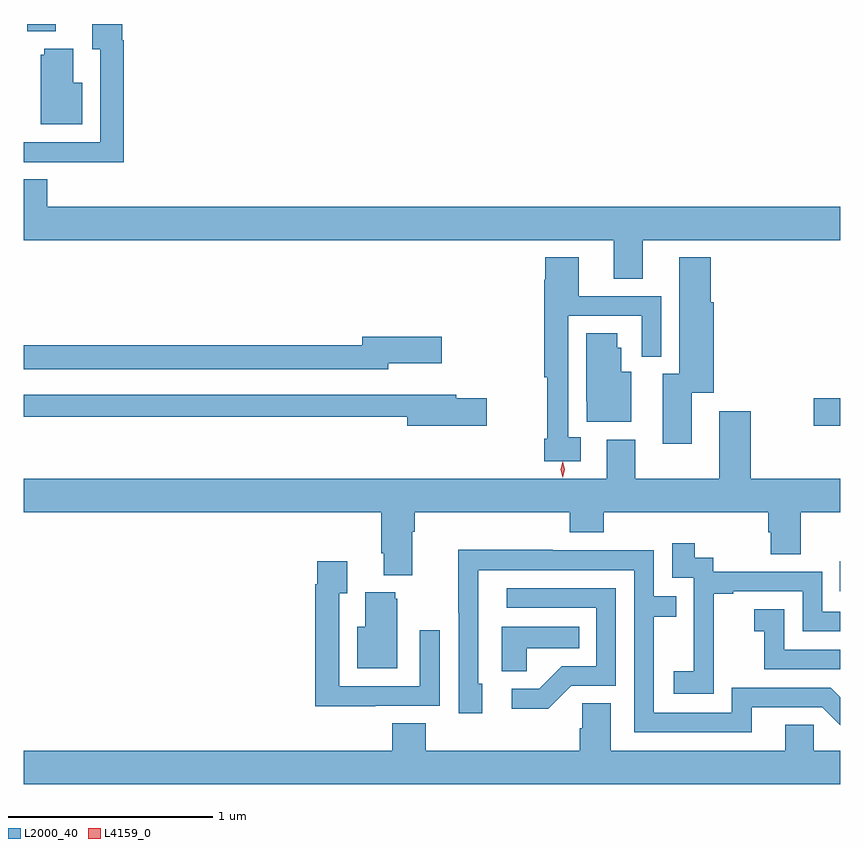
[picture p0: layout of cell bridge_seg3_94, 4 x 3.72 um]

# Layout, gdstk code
import gdstk
lib = gdstk.Library(unit=1e-6, precision=1e-09)
def R(c, l, rs):  # rectangles x0, y0, x1, y1
    for r in rs: c.add(gdstk.rectangle(r[:2], r[2:], *l))
def P(c, l, *ps):  # polygons
    for p in ps: c.add(gdstk.Polygon(p, *l))
L2000_40 = (2000, 40)
L4159_0 = (4159, 0)

bridge_seg3_94 = lib.new_cell('bridge_seg3_94')
R(bridge_seg3_94, L2000_40, [(434.305,745.815,434.308,745.963), (434.178,746.627,434.308,746.762), (430.325,748.559,430.465,748.594)])
P(bridge_seg3_94, L2000_40, [(430.799,748.514),(430.792,748.514),(430.792,748.594),(430.643,748.594),(430.643,748.471),(430.683,748.471),(430.683,748.014),(430.308,748.014),(430.308,747.918),(430.507,747.918),(430.507,747.917),(430.799,747.917)],
  [(430.594,748.306),(430.552,748.306),(430.552,748.474),(430.409,748.474),(430.409,748.443),(430.391,748.443),(430.391,748.103),(430.594,748.103)],
  [(430.424,747.833),(430.308,747.833),(430.308,747.536),(433.199,747.536),(433.199,747.346),(433.339,747.346),(433.339,747.536),(434.308,747.536),(434.308,747.7),(430.424,747.7)],
  [(433.579,746.787),(433.687,746.787),(433.687,747.231),(433.673,747.231),(433.673,747.451),(433.52,747.451),(433.52,746.881),(433.439,746.881),(433.439,746.538),(433.579,746.538)],
  [(433.036,746.57),(432.976,746.57),(432.976,747.165),(433.335,747.165),(433.335,746.964),(433.431,746.964),(433.431,747.261),(433.027,747.261),(433.027,747.451),(432.863,747.451),(432.863,747.341),(432.858,747.341),(432.858,746.863),(432.873,746.863),(432.873,746.563),(432.858,746.563),(432.858,746.453),(433.036,746.453)],
  [(433.285,746.89),(433.234,746.89),(433.234,747.009),(433.216,747.009),(433.216,747.08),(433.064,747.08),(433.064,746.746),(433.067,746.746),(433.067,746.645),(433.285,746.645)],
  [(432.094,746.933),(432.355,746.933),(432.355,747.063),(431.966,747.063),(431.966,747.02),(430.308,747.02),(430.308,746.904),(432.094,746.904)],
  [(432.577,746.762),(432.427,746.762),(432.427,746.779),(432.192,746.779),(432.192,746.778),(430.308,746.778),(430.308,746.67),(432.188,746.67),(432.188,746.627),(432.577,746.627)],
  [(432.211,746.108),(432.224,746.108),(432.224,746.204),(432.983,746.204),(432.983,746.105),(433.148,746.105),(433.148,746.204),(433.955,746.204),(433.955,746.106),(433.967,746.106),(433.967,745.996),(434.115,745.996),(434.115,746.204),(434.308,746.204),(434.308,746.368),(433.868,746.368),(433.868,746.698),(433.715,746.698),(433.715,746.368),(433.303,746.368),(433.303,746.557),(433.163,746.557),(433.163,746.368),(430.308,746.368),(430.308,746.204),(432.059,746.204),(432.059,746.002),(432.071,746.002),(432.071,745.895),(432.211,745.895)],
  [(433.689,745.519),(433.688,745.519),(433.688,745.803),(433.783,745.803),(433.783,745.815),(434.124,745.815),(434.124,745.62),(434.308,745.62),(434.308,745.716),(434.22,745.716),(434.22,745.911),(433.686,745.911),(433.686,745.98),(433.594,745.98),(433.594,746.05),(433.485,746.05),(433.485,745.881),(433.59,745.881),(433.59,745.652),(433.589,745.652),(433.589,745.423),(433.491,745.423),(433.491,745.313),(433.689,745.313)],
  [(433.873,745.248),(434.22,745.248),(434.308,745.16),(434.308,745.298),(434.262,745.344),(433.776,745.344),(433.776,745.221),(433.395,745.221),(433.395,745.69),(433.505,745.69),(433.505,745.791),(433.395,745.791),(433.395,746.016),(432.899,746.016),(432.899,746.018),(432.436,746.018),(432.436,745.711),(432.438,745.711),(432.438,745.218),(432.553,745.218),(432.553,745.362),(432.534,745.362),(432.534,745.92),(433.299,745.92),(433.299,745.125),(433.873,745.125)],
  [(432.029,745.254),(432.345,745.254),(432.345,745.624),(432.249,745.624),(432.249,745.35),(431.853,745.35),(431.853,745.807),(431.893,745.807),(431.893,745.963),(431.745,745.963),(431.745,745.85),(431.737,745.85),(431.737,745.253),(432.029,745.253)],
  [(432.99,745.353),(433.209,745.353),(433.209,745.83),(432.675,745.83),(432.675,745.734),(433.113,745.734),(433.113,745.449),(432.944,745.449),(432.833,745.338),(432.699,745.338),(432.699,745.241),(432.877,745.241)],
  [(432.139,745.779),(432.128,745.779),(432.128,745.81),(431.981,745.81),(431.981,745.642),(431.942,745.642),(431.942,745.439),(432.139,745.439)],
  [(434.308,745.53),(434.034,745.53),(434.034,745.729),(433.887,745.729),(433.887,745.619),(433.936,745.619),(433.936,745.434),(434.308,745.434)],
  [(432.771,745.538),(433.028,745.538),(433.028,745.642),(432.65,745.642),(432.65,745.423),(432.771,745.423)],
  [(434.308,745.036),(434.178,745.036),(434.178,745.163),(434.039,745.163),(434.039,745.036),(433.183,745.036),(433.183,745.268),(433.044,745.268),(433.044,745.145),(433.031,745.145),(433.031,745.036),(432.278,745.036),(432.278,745.169),(432.113,745.169),(432.113,745.036),(430.308,745.036),(430.308,744.872),(434.308,744.872)])
P(bridge_seg3_94, L4159_0, [(432.948,746.371),(432.948,746.371),(432.938,746.412),(432.948,746.452),(432.948,746.453),(432.948,746.452),(432.958,746.412),(432.948,746.371)])

lib.write_gds('bridge_seg3_94.gds')
